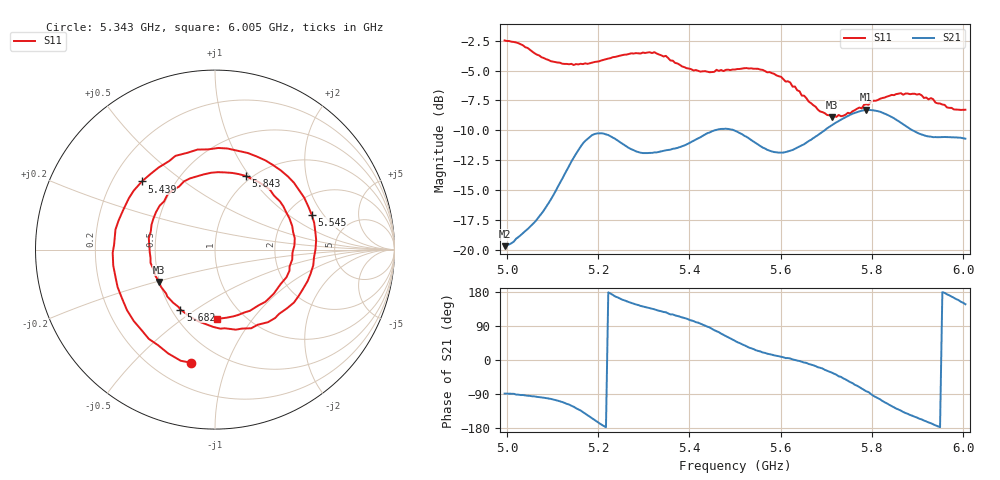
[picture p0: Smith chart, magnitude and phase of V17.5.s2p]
!File created by NanoVNA
# Hz S RI R 50
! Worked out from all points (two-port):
!   201 points, 4.995 GHz to 6.005 GHz, reference 50 ohm
!   highest |S21| = -8.29 dB at 5.788 GHz (marker M1); lowest = -19.7 dB at 4.995 GHz (marker M2)
!   |S21| within 3 dB of the highest: 5.388 GHz to 5.554 GHz (165.5 MHz wide, 3.02 % of centre); 5.645 GHz to end of sweep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
!   lowest |S11| = -8.9 dB at 5.712 GHz (marker M3), VSWR 2.12, Z = 24.9 - j10.3 ohm
!   |S11| at or under -10 dB: nowhere
!   S12 and S22 are empty: the file has one direction only
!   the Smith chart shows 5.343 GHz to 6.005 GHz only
!   S11 on the Smith chart (normalised r, x): 5.343 GHz: 0.35, -0.75; 5.439 GHz: 0.32, +0.36; 5.545 GHz: 2.68, +1.55; 5.682 GHz: 0.56, -0.44; 5.843 GHz: 0.94, +0.96; 6.005 GHz: 0.75, -0.68
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4.995e9  0.2081 -0.723  0.00266 -0.1033  0 0  0 0
5.03035e9  -0.3079 -0.6568  -0.00502 -0.1148  0 0  0 0
5.0758e9  -0.6352 -0.0788  -0.0212 -0.1398  0 0  0 0
5.1263e9  -0.3394 0.4946  -0.0808 -0.1901  0 0  0 0
5.1667e9  0.1179 0.5871  -0.2054 -0.1883  0 0  0 0
5.25255e9  0.6493 -0.0637  -0.2604 0.0981  0 0  0 0
5.298e9  0.4348 -0.5092  -0.1981 0.1585  0 0  0 0
5.33335e9  0.00814 -0.6569  -0.1648 0.1969  0 0  0 0
5.34345e9  -0.1335 -0.6304  -0.155 0.2081  0 0  0 0
5.3889e9  -0.5425 -0.2095  -0.097 0.2551  0 0  0 0
5.4394e9  -0.4074 0.3796  0.0106 0.3072  0 0  0 0
5.5e9  0.2295 0.52  0.2006 0.2424  0 0  0 0
5.54545e9  0.5383 0.195  0.2515 0.1221  0 0  0 0
5.61615e9  0.3349 -0.3812  0.2569 0.0228  0 0  0 0
5.6717e9  -0.1213 -0.384  0.2847 -0.07  0 0  0 0
5.6818e9  -0.1925 -0.334  0.2852 -0.099  0 0  0 0
5.7121e9  -0.3105 -0.1802  0.2773 -0.1822  0 0  0 0
5.78785e9  -0.2411 0.3269  0.0491 -0.382  0 0  0 0
5.83835e9  0.1315 0.4208  -0.1728 -0.3199  0 0  0 0
5.8434e9  0.172 0.4102  -0.1881 -0.3064  0 0  0 0
5.90905e9  0.4425 0.0231  -0.2789 -0.1195  0 0  0 0
6.005e9  0.00845 -0.3853  -0.245 0.1581  0 0  0 0
